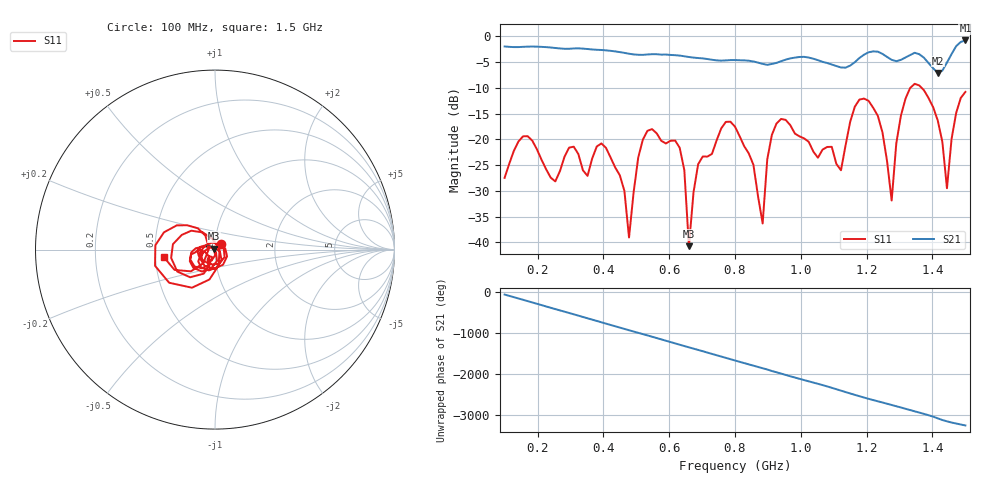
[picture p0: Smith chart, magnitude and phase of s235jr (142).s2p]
! NanoVNA-App
! Date: 2025-09-25 15:05:16
! Start: 100MHz Stop: 1,5GHz Points: 101
! S-Parameter data: F S11 S21 S12 S22
# Hz S RI R 50
!  Frequency  S11_Real  S11_Imag  S21_Real  S21_Imag  S12_Real  S12_Imag  S22_Real  S22_Imag
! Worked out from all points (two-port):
!   101 points, 100 MHz to 1.5 GHz, reference 50 ohm
!   highest |S21| = -0.80 dB at 1.5 GHz (marker M1); lowest = -7.1 dB at 1.416 GHz (marker M2)
!   |S21| within 3 dB of the highest: start of sweep to 638.5 MHz; 1.187 GHz to 1.257 GHz (70.39 MHz wide, 5.76 % of centre) (the widest 2 of 4)
!   lowest |S11| = -40.8 dB at 660 MHz (marker M3), VSWR 1.02, Z = 49.3 + j0.59 ohm
!   |S11| at or under -10 dB: start of sweep to 1.333 GHz; 1.367 GHz to end of sweep
!   S12 and S22 are empty: the file has one direction only
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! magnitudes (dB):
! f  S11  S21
! 100 MHz  -27.5  -2.0
! 156 MHz  -19.4  -2.0
! 338 MHz  -26.0  -2.4
! 408 MHz  -21.7  -2.7
! 478 MHz  -39.1  -3.4
! 520 MHz  -20.1  -3.6
! 576 MHz  -20.3  -3.5
! 632 MHz  -21.6  -3.7
! 660 MHz  -40.8  -4.0
! 688 MHz  -24.8  -4.2
! 800 MHz  -17.5  -4.6
! 884 MHz  -36.3  -5.3
! 898 MHz  -23.9  -5.5
! 926 MHz  -16.9  -5.2
! 1.038 GHz  -22.4  -4.3
! 1.122 GHz  -26.0  -6.0
! 1.206 GHz  -12.5  -3.1
! 1.276 GHz  -31.9  -4.6
! 1.332 GHz  -10.0  -3.6
! 1.416 GHz  -16.3  -7.1
! 1.444 GHz  -29.5  -5.1
! 1.5 GHz  -10.8  -0.8
